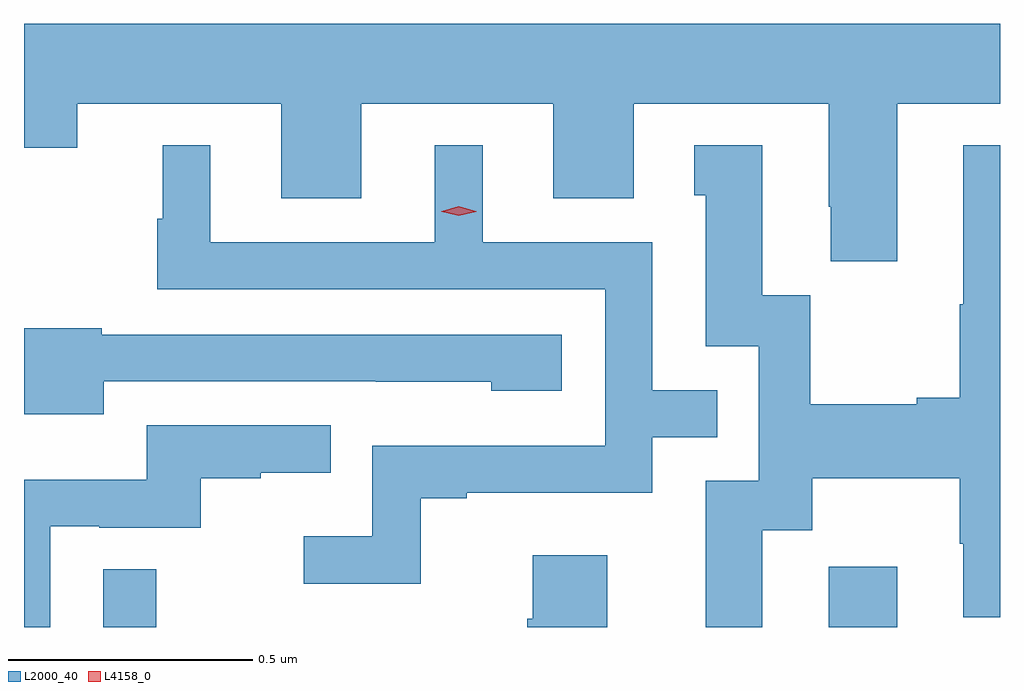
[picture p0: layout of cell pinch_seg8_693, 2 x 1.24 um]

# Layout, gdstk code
import gdstk
lib = gdstk.Library(unit=1e-6, precision=1e-09)
def R(c, l, rs):  # rectangles x0, y0, x1, y1
    for r in rs: c.add(gdstk.rectangle(r[:2], r[2:], *l))
def P(c, l, *ps):  # polygons
    for p in ps: c.add(gdstk.Polygon(p, *l))
L2000_40 = (2000, 40)
L4158_0 = (4158, 0)

pinch_seg8_693 = lib.new_cell('pinch_seg8_693')
R(pinch_seg8_693, L2000_40, [(276.51,1099.443,276.619,1099.562), (277.997,1099.443,278.137,1099.567)])
P(pinch_seg8_693, L2000_40, [(278.137,1100.516),(278.348,1100.516),(278.348,1100.68),(276.348,1100.68),(276.348,1100.426),(276.457,1100.426),(276.457,1100.516),(276.875,1100.516),(276.875,1100.322),(277.039,1100.322),(277.039,1100.516),(277.433,1100.516),(277.433,1100.322),(277.597,1100.322),(277.597,1100.516),(277.997,1100.516),(277.997,1100.305),(278.001,1100.305),(278.001,1100.193),(278.137,1100.193)],
  [(277.861,1099.642),(277.963,1099.642),(277.963,1099.748),(278.266,1099.748),(278.266,1099.614),(278.273,1099.614),(278.273,1099.464),(278.348,1099.464),(278.348,1100.431),(278.273,1100.431),(278.273,1100.105),(278.266,1100.105),(278.266,1099.913),(278.177,1099.913),(278.177,1099.9),(277.959,1099.9),(277.959,1100.123),(277.861,1100.123),(277.861,1100.431),(277.721,1100.431),(277.721,1100.328),(277.745,1100.328),(277.745,1100.019),(277.854,1100.019),(277.854,1099.743),(277.745,1099.743),(277.745,1099.443),(277.861,1099.443)],
  [(277.161,1099.707),(277.255,1099.707),(277.255,1099.719),(277.635,1099.719),(277.635,1099.833),(277.769,1099.833),(277.769,1099.929),(277.635,1099.929),(277.635,1100.232),(277.288,1100.232),(277.288,1100.431),(277.19,1100.431),(277.19,1100.232),(276.73,1100.232),(276.73,1100.431),(276.632,1100.431),(276.632,1100.28),(276.621,1100.28),(276.621,1100.136),(277.539,1100.136),(277.539,1099.815),(277.062,1099.815),(277.062,1099.63),(276.921,1099.63),(276.921,1099.532),(277.161,1099.532)],
  [(276.511,1099.947),(277.069,1099.947),(277.069,1099.946),(277.305,1099.946),(277.305,1099.928),(277.45,1099.928),(277.45,1100.043),(276.507,1100.043),(276.507,1100.056),(276.348,1100.056),(276.348,1099.88),(276.511,1099.88)],
  [(276.402,1099.65),(276.502,1099.65),(276.502,1099.647),(276.71,1099.647),(276.71,1099.749),(276.833,1099.749),(276.833,1099.76),(276.977,1099.76),(276.977,1099.857),(276.6,1099.857),(276.6,1099.745),(276.348,1099.745),(276.348,1099.443),(276.402,1099.443)],
  [(277.543,1099.591),(277.391,1099.591),(277.391,1099.461),(277.379,1099.461),(277.379,1099.443),(277.543,1099.443)])
P(pinch_seg8_693, L4158_0, [(277.239,1100.286),(277.204,1100.295),(277.203,1100.296),(277.204,1100.296),(277.239,1100.306),(277.275,1100.296),(277.275,1100.296),(277.275,1100.295)])

lib.write_gds('pinch_seg8_693.gds')
